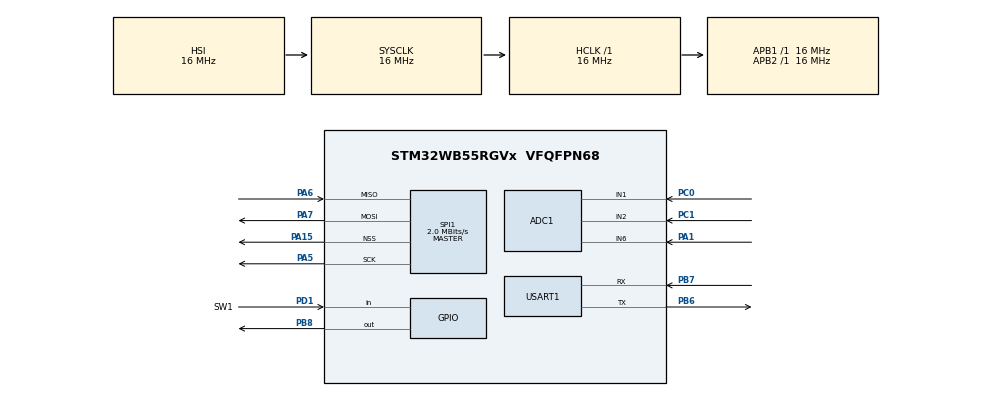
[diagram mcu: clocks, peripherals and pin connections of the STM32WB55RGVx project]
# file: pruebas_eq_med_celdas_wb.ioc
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ADC1.Channel-0\#ChannelRegularConversion=ADC_CHANNEL_1
ADC1.Channel-1\#ChannelRegularConversion=ADC_CHANNEL_2
ADC1.Channel-2\#ChannelRegularConversion=ADC_CHANNEL_6
ADC1.ExternalTrigConv=ADC_EXTERNALTRIG_T2_TRGO
ADC1.NbrOfConversion=3
ADC1.NbrOfConversionFlag=1
ADC1.OffsetNumber-0\#ChannelRegularConversion=ADC_OFFSET_NONE
ADC1.OffsetNumber-1\#ChannelRegularConversion=ADC_OFFSET_NONE
ADC1.OffsetNumber-2\#ChannelRegularConversion=ADC_OFFSET_NONE
ADC1.Rank-0\#ChannelRegularConversion=1
ADC1.Rank-1\#ChannelRegularConversion=2
ADC1.Rank-2\#ChannelRegularConversion=3
ADC1.SamplingTime-0\#ChannelRegularConversion=ADC_SAMPLETIME_6CYCLES_5
ADC1.SamplingTime-1\#ChannelRegularConversion=ADC_SAMPLETIME_6CYCLES_5
ADC1.SamplingTime-2\#ChannelRegularConversion=ADC_SAMPLETIME_6CYCLES_5
ADC1.master=1
Dma.ADC1.1.Direction=DMA_PERIPH_TO_MEMORY
Dma.ADC1.1.EventEnable=DISABLE
Dma.ADC1.1.Instance=DMA1_Channel2
Dma.ADC1.1.MemDataAlignment=DMA_MDATAALIGN_HALFWORD
Dma.ADC1.1.MemInc=DMA_MINC_ENABLE
Dma.ADC1.1.Mode=DMA_NORMAL
Dma.ADC1.1.PeriphDataAlignment=DMA_PDATAALIGN_HALFWORD
Dma.ADC1.1.PeriphInc=DMA_PINC_DISABLE
Dma.ADC1.1.Polarity=HAL_DMAMUX_REQ_GEN_RISING
Dma.ADC1.1.Priority=DMA_PRIORITY_LOW
Dma.ADC1.1.RequestNumber=1
Dma.ADC1.1.SignalID=NONE
Dma.ADC1.1.SyncEnable=DISABLE
Dma.ADC1.1.SyncPolarity=HAL_DMAMUX_SYNC_NO_EVENT
Dma.ADC1.1.SyncRequestNumber=1
Dma.ADC1.1.SyncSignalID=NONE
Dma.Request0=SPI1_TX
Dma.Request1=ADC1
Dma.SPI1_TX.0.Direction=DMA_MEMORY_TO_PERIPH
Dma.SPI1_TX.0.EventEnable=DISABLE
Dma.SPI1_TX.0.Instance=DMA1_Channel1
Dma.SPI1_TX.0.MemDataAlignment=DMA_MDATAALIGN_HALFWORD
Dma.SPI1_TX.0.MemInc=DMA_MINC_ENABLE
Dma.SPI1_TX.0.Mode=DMA_CIRCULAR
Dma.SPI1_TX.0.PeriphDataAlignment=DMA_PDATAALIGN_HALFWORD
Dma.SPI1_TX.0.PeriphInc=DMA_PINC_DISABLE
Dma.SPI1_TX.0.Polarity=HAL_DMAMUX_REQ_GEN_RISING
Dma.SPI1_TX.0.Priority=DMA_PRIORITY_LOW
Dma.SPI1_TX.0.RequestNumber=1
Dma.SPI1_TX.0.SignalID=NONE
Dma.SPI1_TX.0.SyncEnable=DISABLE
Dma.SPI1_TX.0.SyncPolarity=HAL_DMAMUX_SYNC_NO_EVENT
Dma.SPI1_TX.0.SyncRequestNumber=1
Dma.SPI1_TX.0.SyncSignalID=NONE
Mcu.Family=STM32WB
Mcu.Name=STM32WB55RGVx
Mcu.Package=VFQFPN68
NVIC.DMA1_Channel1_IRQn=true\:0\:0\:false\:false\:true\:false\:true\:true
NVIC.DMA1_Channel2_IRQn=true\:0\:0\:false\:false\:true\:false\:true\:true
NVIC.PriorityGroup=NVIC_PRIORITYGROUP_4
NVIC.TIM2_IRQn=true\:0\:0\:false\:false\:true\:true\:true\:true
NVIC.USART1_IRQn=true\:0\:0\:false\:false\:true\:true\:true\:true
OSC_IN.GPIO_Label=RCC_OSC_IN
OSC_IN.Signal=RCC_OSC_IN
OSC_OUT.GPIO_Label=RCC_OSC_OUT
OSC_OUT.Signal=RCC_OSC_OUT
P-NUCLEO-WB55-NUCLEO.BUTTON=2
P-NUCLEO-WB55-NUCLEO.BUTTON2=1
P-NUCLEO-WB55-NUCLEO.BUTTON3=1
P-NUCLEO-WB55-NUCLEO.LD1=true
P-NUCLEO-WB55-NUCLEO.LD2=true
P-NUCLEO-WB55-NUCLEO.LD3=true
P-NUCLEO-WB55-NUCLEO.VCP=false
PA1.Signal=ADCx_IN6
PA11.GPIO_Label=USB_DM
PA11.Signal=USB_DM
PA12.GPIO_Label=USB_DP
PA12.Signal=USB_DP
PA13.GPIO_Label=JTMS
PA13.Signal=SYS_JTMS-SWDIO
PA14.GPIO_Label=JTCK
PA14.Signal=SYS_JTCK-SWCLK
PA15.Mode=NSS_Signal_Hard_Output
PA15.Signal=SPI1_NSS
PA5.Mode=Full_Duplex_Master
PA5.Signal=SPI1_SCK
PA6.Mode=Full_Duplex_Master
PA6.Signal=SPI1_MISO
PA7.Mode=Full_Duplex_Master
PA7.Signal=SPI1_MOSI
PB3.GPIO_Label=JTDO
PB3.Signal=SYS_JTDO-SWO
PB6.Mode=Asynchronous
PB6.Signal=USART1_TX
PB7.Mode=Asynchronous
PB7.Signal=USART1_RX
PB8.GPIO_PuPd=GPIO_PULLDOWN
PB8.Signal=GPIO_Output
PC0.Signal=ADCx_IN1
PC1.Signal=ADCx_IN2
PC13.GPIO_Label=SYS_WKUP2
PC13.Signal=SYS_WKUP2
PC14-OSC32_IN.GPIO_Label=RCC_OSC32_IN
PC14-OSC32_IN.Mode=LSE-External-Oscillator
PC14-OSC32_IN.Signal=RCC_OSC32_IN
PC15-OSC32_OUT.GPIO_Label=RCC_OSC32_OUT
PC15-OSC32_OUT.Mode=LSE-External-Oscillator
PC15-OSC32_OUT.Signal=RCC_OSC32_OUT
PD1.GPIO_Label=SW1
PD1.GPIO_PuPd=GPIO_PULLUP
PD1.Signal=GPIO_Input
ProjectManager.HeapSize=0x200
ProjectManager.StackSize=0x400
ProjectManager.TargetToolchain=STM32CubeIDE
RCC.ADCFreq_Value=48000000
RCC.AHBFreq_Value=16000000
RCC.APB1Freq_Value=16000000
RCC.APB1TimFreq_Value=16000000
RCC.APB2Freq_Value=16000000
RCC.APB2TimFreq_Value=16000000
RCC.APB3Freq_Value=16000000
RCC.CortexFreq_Value=16000000
RCC.HCLKFreq_Value=16000000
RCC.HSE_VALUE=32000000
RCC.HSI48_VALUE=48000000
RCC.HSI_VALUE=16000000
RCC.PLLM=RCC_PLLM_DIV2
RCC.PLLSAI1N=12
RCC.PLLSourceVirtual=RCC_PLLSOURCE_HSI
RCC.SMPSCLockSelection=RCC_SMPSCLKSOURCE_HSI
RCC.SMPSCLockSelectionVirtual=RCC_SMPSCLKSOURCE_HSI
RCC.SMPSCLockSelectionVirtualVirtual=RCC_SMPSCLKSOURCE_HSI
RCC.SMPSDivider=1
RCC.SYSCLKFreq_VALUE=16000000
RCC.SYSCLKSource=RCC_SYSCLKSOURCE_HSI
RCC.USART1CLockSelection=RCC_USART1CLKSOURCE_SYSCLK
RCC.USBFreq_Value=48000000
RCC.VCOOutputFreq_Value=64000000
SH.ADCx_IN1.0=ADC1_IN1,IN1-Single-Ended
SH.ADCx_IN2.0=ADC1_IN2,IN2-Single-Ended
SH.ADCx_IN6.0=ADC1_IN6,IN6-Single-Ended
SPI1.BaudRatePrescaler=SPI_BAUDRATEPRESCALER_8
SPI1.CalculateBaudRate=2.0 MBits/s
SPI1.DataSize=SPI_DATASIZE_16BIT
SPI1.Direction=SPI_DIRECTION_2LINES
SPI1.Mode=SPI_MODE_MASTER
SPI1.VirtualNSS=VM_NSSHARD
SPI1.VirtualType=VM_MASTER
TIM2.Period=7
TIM2.Prescaler=4-1
TIM2.TIM_MasterOutputTrigger=TIM_TRGO_UPDATE
USART1.DMADisableonRxErrorParam=ADVFEATURE_DMA_DISABLEONRXERROR
USART1.OverrunDisableParam=ADVFEATURE_OVERRUN_DISABLE
USART1.VirtualMode-Asynchronous=VM_ASYNC
VP_MEMORYMAP_VS_MEMORYMAP.Mode=CurAppReg
VP_TIM2_VS_ClockSourceINT.Mode=Internal
board=P-NUCLEO-WB55-NUCLEO

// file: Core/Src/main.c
/* USER CODE BEGIN Header */
/**
  ******************************************************************************
  * @file           : main.c
  * @brief          : Main program body
  ******************************************************************************
  * @attention
  *
  * Copyright (c) 2026 STMicroelectronics.
  * All rights reserved.
  *
  * This software is licensed under terms that can be found in the LICENSE file
  * in the root directory of this software component.
  * If no LICENSE file comes with this software, it is provided AS-IS.
  *
  ******************************************************************************
  */
/* USER CODE END Header */
#include "main.h"

/* USER CODE BEGIN Includes */
#include "math.h"
#include <string.h>
/* USER CODE END Includes */

/* USER CODE BEGIN PTD */
typedef enum {
    MCP4822_CH_A = 0,
    MCP4822_CH_B = 1
} MCP4822_Channel;
/* USER CODE END PTD */

/* USER CODE BEGIN PD */
#define SAMPLE_RATE     500000
#define CHANNELS        3
#define RECORD_TIME_MS  20

#define ADC_SAMPLES     ((SAMPLE_RATE * RECORD_TIME_MS / 1000) * CHANNELS)

#define MCP482X_VREF 2.048f

uint16_t adcBuffer[ADC_SAMPLES];

volatile uint8_t adcFinished = 0;

uint8_t rx;
char command[16];
uint8_t commandIndex = 0;
/* USER CODE END PD */

ADC_HandleTypeDef hadc1;
DMA_HandleTypeDef hdma_adc1;

SPI_HandleTypeDef hspi1;
DMA_HandleTypeDef hdma_spi1_tx;

TIM_HandleTypeDef htim2;

UART_HandleTypeDef huart1;

void SystemClock_Config(void);
void PeriphCommonClock_Config(void);
static void MX_GPIO_Init(void);
static void MX_DMA_Init(void);
static void MX_ADC1_Init(void);
static void MX_SPI1_Init(void);
static void MX_TIM2_Init(void);
static void MX_USART1_UART_Init(void);

/* USER CODE BEGIN 0 */
void MCP4822_FillSineDMA(uint16_t *buffer,
                                uint32_t size,
                                float amplitude_volts,
                                float offset_volts,
                                uint8_t ga,
                                uint8_t channel)
{
    if (!buffer || size == 0) return;

    float fullscale = ga ? MCP482X_VREF : (2.0f * MCP482X_VREF);

    // Limitar amplitud para no saturar
    float max_amp = offset_volts;
    if ((fullscale - offset_volts) < max_amp)
        max_amp = fullscale - offset_volts;

    if (amplitude_volts > max_amp)
        amplitude_volts = max_amp;

    uint16_t config = 0;
    config |= (channel ? (1 << 15) : 0); // A/B
    config |= (1 << 14);                 // BUF
    config |= (ga ? (1 << 13) : 0);      // GA
    config |= (1 << 12);                 // SHDN

    for (uint32_t i = 0; i < size; i++)
    {
        float phase = 2.0f * M_PI * ((float)i / (float)size);
        float s = sinf(phase);

        float voltage = offset_volts + s * amplitude_volts;

        if (voltage < 0.0f) voltage = 0.0f;
        if (voltage > fullscale) voltage = fullscale;

        uint16_t code = (uint16_t)((voltage / fullscale) * 4095.0f);

        buffer[i] = config | (code & 0x0FFF);
    }
    HAL_SPI_Transmit_DMA(&hspi1, (uint8_t*)buffer, size);
}

void MCP4821_FillSineDMA(uint16_t *buffer,
                         uint32_t size,
                         float amplitude_volts,
                         float offset_volts,
                         uint8_t ga)
{
    if (!buffer || size == 0) return;

    float fullscale = ga ? MCP482X_VREF : (2.0f * MCP482X_VREF);

    // Limitar amplitud para no saturar
    float max_amp = offset_volts;

    if ((fullscale - offset_volts) < max_amp)
        max_amp = fullscale - offset_volts;

    if (amplitude_volts > max_amp)
        amplitude_volts = max_amp;

    uint16_t config = 0;

    config |= (1 << 14);             // BUF
    config |= (ga ? (1 << 13) : 0);  // GA
    config |= (1 << 12);             // SHDN

    for (uint32_t i = 0; i < size; i++)
    {
        float phase = 2.0f * M_PI * ((float)i / (float)size);
        float s = sinf(phase);

        float voltage = offset_volts + s * amplitude_volts;

        if (voltage < 0.0f)
            voltage = 0.0f;

        if (voltage > fullscale)
            voltage = fullscale;

        uint16_t code = (uint16_t)((voltage / fullscale) * 4095.0f);

        buffer[i] = config | (code & 0x0FFF);
    }

    HAL_SPI_Transmit_DMA(&hspi1, (uint8_t *)buffer, size);
}

// --- Set voltage function ---
void MCP4822_SetVoltage(MCP4822_Channel ch, float voltage)
{
    if (voltage < 0.0f)
        voltage = 0.0f;

    if (voltage > 4.096f)
        voltage = 4.096f;

    uint16_t code = (uint16_t)((voltage / 4.096f) * 4095.0f);

    uint16_t command = 0;

    command |= ((uint16_t)ch << 15);  // Channel select
    command |= (0U << 14);            // Unbuffered
    command |= (0U << 13);            // Gain = 2x
    command |= (1U << 12);            // Active
    command |= (code & 0x0FFF);       // 12-bit DAC code

    HAL_SPI_Transmit(&hspi1,
                     (uint8_t *)&command,
                     1,
                     HAL_MAX_DELAY);
}
/* USER CODE END 0 */

int main(void)
{

  /* MCU Configuration--------------------------------------------------------*/

  /* Reset of all peripherals, Initializes the Flash interface and the Systick. */
  HAL_Init();

  /* Configure the system clock */
  SystemClock_Config();

  /* Configure the peripherals common clocks */
  PeriphCommonClock_Config();

  /* Initialize all configured peripherals */
  MX_GPIO_Init();
  MX_DMA_Init();
  MX_ADC1_Init();
  MX_SPI1_Init();
  MX_TIM2_Init();
  MX_USART1_UART_Init();

  /* Infinite loop */
  /* USER CODE BEGIN WHILE */
  uint16_t dac_buffer[110];

  MCP4822_SetVoltage(MCP4822_CH_B , 1.88); // 2.5 => 2.75 - 1.9 => 2.108 // VREF = 1.07 * VB + 0.075 // VB = 0.935 * VREF - 0.07 // VBAT = 2.01 * VREF
  HAL_Delay(100);
  MCP4822_FillSineDMA(dac_buffer, sizeof(dac_buffer)/sizeof(uint16_t), 0.05f,1.0f, 1, MCP4822_CH_A);
  /* USER CODE END 2 */

  /* Infinite loop */
  /* USER CODE BEGIN WHILE */
  memset((uint8_t *) adcBuffer, 0, sizeof(adcBuffer));
  HAL_UART_Receive_IT(&huart1, &rx, 1);
  while(HAL_GPIO_ReadPin(GPIOD, GPIO_PIN_1));
  HAL_GPIO_WritePin(GPIOB, GPIO_PIN_8, GPIO_PIN_SET);
  while (1)
  {
    /* USER CODE END WHILE */

  }
}

void SystemClock_Config(void)
{
  RCC_OscInitTypeDef RCC_OscInitStruct = {0};
  RCC_ClkInitTypeDef RCC_ClkInitStruct = {0};

  /** Macro to configure the PLL multiplication factor
  */
  __HAL_RCC_PLL_PLLM_CONFIG(RCC_PLLM_DIV2);

  /** Macro to configure the PLL clock source
  */
  __HAL_RCC_PLL_PLLSOURCE_CONFIG(RCC_PLLSOURCE_HSI);

  /** Configure the main internal regulator output voltage
  */
  __HAL_PWR_VOLTAGESCALING_CONFIG(PWR_REGULATOR_VOLTAGE_SCALE1);

  /** Initializes the RCC Oscillators according to the specified parameters
  * in the RCC_OscInitTypeDef structure.
  */
  RCC_OscInitStruct.OscillatorType = RCC_OSCILLATORTYPE_HSI;
  RCC_OscInitStruct.HSIState = RCC_HSI_ON;
  RCC_OscInitStruct.HSICalibrationValue = RCC_HSICALIBRATION_DEFAULT;
  RCC_OscInitStruct.PLL.PLLState = RCC_PLL_NONE;
  if (HAL_RCC_OscConfig(&RCC_OscInitStruct) != HAL_OK)
  {
    Error_Handler();
  }

  /** Configure the SYSCLKSource, HCLK, PCLK1 and PCLK2 clocks dividers
  */
  RCC_ClkInitStruct.ClockType = RCC_CLOCKTYPE_HCLK4|RCC_CLOCKTYPE_HCLK2
                              |RCC_CLOCKTYPE_HCLK|RCC_CLOCKTYPE_SYSCLK
                              |RCC_CLOCKTYPE_PCLK1|RCC_CLOCKTYPE_PCLK2;
  RCC_ClkInitStruct.SYSCLKSource = RCC_SYSCLKSOURCE_HSI;
  RCC_ClkInitStruct.AHBCLKDivider = RCC_SYSCLK_DIV1;
  RCC_ClkInitStruct.APB1CLKDivider = RCC_HCLK_DIV1;
  RCC_ClkInitStruct.APB2CLKDivider = RCC_HCLK_DIV1;
  RCC_ClkInitStruct.AHBCLK2Divider = RCC_SYSCLK_DIV1;
  RCC_ClkInitStruct.AHBCLK4Divider = RCC_SYSCLK_DIV1;

  if (HAL_RCC_ClockConfig(&RCC_ClkInitStruct, FLASH_LATENCY_0) != HAL_OK)
  {
    Error_Handler();
  }
}

void PeriphCommonClock_Config(void)
{
  RCC_PeriphCLKInitTypeDef PeriphClkInitStruct = {0};

  /** Initializes the peripherals clock
  */
  PeriphClkInitStruct.PeriphClockSelection = RCC_PERIPHCLK_SMPS;
  PeriphClkInitStruct.SmpsClockSelection = RCC_SMPSCLKSOURCE_HSI;
  PeriphClkInitStruct.SmpsDivSelection = RCC_SMPSCLKDIV_RANGE0;

  if (HAL_RCCEx_PeriphCLKConfig(&PeriphClkInitStruct) != HAL_OK)
  {
    Error_Handler();
  }
}

static void MX_ADC1_Init(void)
{

  ADC_ChannelConfTypeDef sConfig = {0};

  /** Common config
  */
  hadc1.Instance = ADC1;
  hadc1.Init.ClockPrescaler = ADC_CLOCK_ASYNC_DIV1;
  hadc1.Init.Resolution = ADC_RESOLUTION_12B;
  hadc1.Init.DataAlign = ADC_DATAALIGN_RIGHT;
  hadc1.Init.ScanConvMode = ADC_SCAN_ENABLE;
  hadc1.Init.EOCSelection = ADC_EOC_SINGLE_CONV;
  hadc1.Init.LowPowerAutoWait = DISABLE;
  hadc1.Init.ContinuousConvMode = DISABLE;
  hadc1.Init.NbrOfConversion = 3;
  hadc1.Init.DiscontinuousConvMode = DISABLE;
  hadc1.Init.ExternalTrigConv = ADC_EXTERNALTRIG_T2_TRGO;
  hadc1.Init.ExternalTrigConvEdge = ADC_EXTERNALTRIGCONVEDGE_RISING;
  hadc1.Init.DMAContinuousRequests = DISABLE;
  hadc1.Init.Overrun = ADC_OVR_DATA_PRESERVED;
  hadc1.Init.OversamplingMode = DISABLE;
  if (HAL_ADC_Init(&hadc1) != HAL_OK)
  {
    Error_Handler();
  }

  /** Configure Regular Channel
  */
  sConfig.Channel = ADC_CHANNEL_1;
  sConfig.Rank = ADC_REGULAR_RANK_1;
  sConfig.SamplingTime = ADC_SAMPLETIME_6CYCLES_5;
  sConfig.SingleDiff = ADC_SINGLE_ENDED;
  sConfig.OffsetNumber = ADC_OFFSET_NONE;
  sConfig.Offset = 0;
  if (HAL_ADC_ConfigChannel(&hadc1, &sConfig) != HAL_OK)
  {
    Error_Handler();
  }

  /** Configure Regular Channel
  */
  sConfig.Channel = ADC_CHANNEL_2;
  sConfig.Rank = ADC_REGULAR_RANK_2;
  if (HAL_ADC_ConfigChannel(&hadc1, &sConfig) != HAL_OK)
  {
    Error_Handler();
  }

  /** Configure Regular Channel
  */
  sConfig.Channel = ADC_CHANNEL_6;
  sConfig.Rank = ADC_REGULAR_RANK_3;
  if (HAL_ADC_ConfigChannel(&hadc1, &sConfig) != HAL_OK)
  {
    Error_Handler();
  }

}

static void MX_SPI1_Init(void)
{

  /* SPI1 parameter configuration*/
  hspi1.Instance = SPI1;
  hspi1.Init.Mode = SPI_MODE_MASTER;
  hspi1.Init.Direction = SPI_DIRECTION_2LINES;
  hspi1.Init.DataSize = SPI_DATASIZE_16BIT;
  hspi1.Init.CLKPolarity = SPI_POLARITY_LOW;
  hspi1.Init.CLKPhase = SPI_PHASE_1EDGE;
  hspi1.Init.NSS = SPI_NSS_HARD_OUTPUT;
  hspi1.Init.BaudRatePrescaler = SPI_BAUDRATEPRESCALER_8;
  hspi1.Init.FirstBit = SPI_FIRSTBIT_MSB;
  hspi1.Init.TIMode = SPI_TIMODE_DISABLE;
  hspi1.Init.CRCCalculation = SPI_CRCCALCULATION_DISABLE;
  hspi1.Init.CRCPolynomial = 7;
  hspi1.Init.CRCLength = SPI_CRC_LENGTH_DATASIZE;
  hspi1.Init.NSSPMode = SPI_NSS_PULSE_ENABLE;
  if (HAL_SPI_Init(&hspi1) != HAL_OK)
  {
    Error_Handler();
  }

}

static void MX_TIM2_Init(void)
{

  TIM_ClockConfigTypeDef sClockSourceConfig = {0};
  TIM_MasterConfigTypeDef sMasterConfig = {0};

  htim2.Instance = TIM2;
  htim2.Init.Prescaler = 4-1;
  htim2.Init.CounterMode = TIM_COUNTERMODE_UP;
  htim2.Init.Period = 7;
  htim2.Init.ClockDivision = TIM_CLOCKDIVISION_DIV1;
  htim2.Init.AutoReloadPreload = TIM_AUTORELOAD_PRELOAD_DISABLE;
  if (HAL_TIM_Base_Init(&htim2) != HAL_OK)
  {
    Error_Handler();
  }
  sClockSourceConfig.ClockSource = TIM_CLOCKSOURCE_INTERNAL;
  if (HAL_TIM_ConfigClockSource(&htim2, &sClockSourceConfig) != HAL_OK)
  {
    Error_Handler();
  }
  sMasterConfig.MasterOutputTrigger = TIM_TRGO_UPDATE;
  sMasterConfig.MasterSlaveMode = TIM_MASTERSLAVEMODE_DISABLE;
  if (HAL_TIMEx_MasterConfigSynchronization(&htim2, &sMasterConfig) != HAL_OK)
  {
    Error_Handler();
  }

}

static void MX_USART1_UART_Init(void)
{

  huart1.Instance = USART1;
  huart1.Init.BaudRate = 115200;
  huart1.Init.WordLength = UART_WORDLENGTH_8B;
  huart1.Init.StopBits = UART_STOPBITS_1;
  huart1.Init.Parity = UART_PARITY_NONE;
  huart1.Init.Mode = UART_MODE_TX_RX;
  huart1.Init.HwFlowCtl = UART_HWCONTROL_NONE;
  huart1.Init.OverSampling = UART_OVERSAMPLING_16;
  huart1.Init.OneBitSampling = UART_ONE_BIT_SAMPLE_DISABLE;
  huart1.Init.ClockPrescaler = UART_PRESCALER_DIV1;
  huart1.AdvancedInit.AdvFeatureInit = UART_ADVFEATURE_RXOVERRUNDISABLE_INIT|UART_ADVFEATURE_DMADISABLEONERROR_INIT;
  huart1.AdvancedInit.OverrunDisable = UART_ADVFEATURE_OVERRUN_DISABLE;
  huart1.AdvancedInit.DMADisableonRxError = UART_ADVFEATURE_DMA_DISABLEONRXERROR;
  if (HAL_UART_Init(&huart1) != HAL_OK)
  {
    Error_Handler();
  }
  if (HAL_UARTEx_SetTxFifoThreshold(&huart1, UART_TXFIFO_THRESHOLD_1_8) != HAL_OK)
  {
    Error_Handler();
  }
  if (HAL_UARTEx_SetRxFifoThreshold(&huart1, UART_RXFIFO_THRESHOLD_1_8) != HAL_OK)
  {
    Error_Handler();
  }
  if (HAL_UARTEx_DisableFifoMode(&huart1) != HAL_OK)
  {
    Error_Handler();
  }

}

static void MX_DMA_Init(void)
{

  /* DMA controller clock enable */
  __HAL_RCC_DMAMUX1_CLK_ENABLE();
  __HAL_RCC_DMA1_CLK_ENABLE();

  /* DMA interrupt init */
  /* DMA1_Channel1_IRQn interrupt configuration */
  HAL_NVIC_SetPriority(DMA1_Channel1_IRQn, 0, 0);
  HAL_NVIC_EnableIRQ(DMA1_Channel1_IRQn);
  /* DMA1_Channel2_IRQn interrupt configuration */
  HAL_NVIC_SetPriority(DMA1_Channel2_IRQn, 0, 0);
  HAL_NVIC_EnableIRQ(DMA1_Channel2_IRQn);

}

static void MX_GPIO_Init(void)
{
  GPIO_InitTypeDef GPIO_InitStruct = {0};

  /* GPIO Ports Clock Enable */
  __HAL_RCC_GPIOC_CLK_ENABLE();
  __HAL_RCC_GPIOB_CLK_ENABLE();
  __HAL_RCC_GPIOA_CLK_ENABLE();
  __HAL_RCC_GPIOD_CLK_ENABLE();

  /*Configure GPIO pin Output Level */
  HAL_GPIO_WritePin(GPIOB, GPIO_PIN_8, GPIO_PIN_RESET);

  /*Configure GPIO pin : PB8 */
  GPIO_InitStruct.Pin = GPIO_PIN_8;
  GPIO_InitStruct.Mode = GPIO_MODE_OUTPUT_PP;
  GPIO_InitStruct.Pull = GPIO_PULLDOWN;
  GPIO_InitStruct.Speed = GPIO_SPEED_FREQ_LOW;
  HAL_GPIO_Init(GPIOB, &GPIO_InitStruct);

  /*Configure GPIO pins : USB_DM_Pin USB_DP_Pin */
  GPIO_InitStruct.Pin = USB_DM_Pin|USB_DP_Pin;
  GPIO_InitStruct.Mode = GPIO_MODE_AF_PP;
  GPIO_InitStruct.Pull = GPIO_NOPULL;
  GPIO_InitStruct.Speed = GPIO_SPEED_FREQ_LOW;
  GPIO_InitStruct.Alternate = GPIO_AF10_USB;
  HAL_GPIO_Init(GPIOA, &GPIO_InitStruct);

  /*Configure GPIO pin : SW1_Pin */
  GPIO_InitStruct.Pin = SW1_Pin;
  GPIO_InitStruct.Mode = GPIO_MODE_INPUT;
  GPIO_InitStruct.Pull = GPIO_PULLUP;
  HAL_GPIO_Init(SW1_GPIO_Port, &GPIO_InitStruct);

}

/* USER CODE BEGIN 4 */
void StartAcquisition(void)
{
    adcFinished = 0;

    memset((uint8_t *) adcBuffer, 0, sizeof(adcBuffer));
    HAL_ADC_Start_DMA(&hadc1,
                      (uint32_t *)adcBuffer,
                      ADC_SAMPLES);

    HAL_TIM_Base_Start(&htim2);
}

void HAL_ADC_ConvCpltCallback(ADC_HandleTypeDef *hadc)
{
    if (hadc == &hadc1)
    {
        HAL_TIM_Base_Stop(&htim2);
        HAL_ADC_Stop_DMA(&hadc1);

        adcFinished = 1;

        const uint8_t msg[] = "DONE\n";
        HAL_UART_Transmit(&huart1,
                          (uint8_t *)msg,
                          sizeof(msg) - 1,
                          HAL_MAX_DELAY);
    }
}

void HAL_UART_RxCpltCallback(UART_HandleTypeDef *huart)
{
    if (huart == &huart1)
    {
        if (rx == '\n')
        {
            command[commandIndex] = '\0';

            if (strcmp(command, "s") == 0)
            {
                StartAcquisition();
            }
            else if (strcmp(command, "r") == 0)
            {
                if (adcFinished)
                {
                    HAL_UART_Transmit(&huart1,
                                      (uint8_t *)adcBuffer,
                                      sizeof(adcBuffer),
                                      HAL_MAX_DELAY);
                }
            }

            commandIndex = 0;
        }
        else if (rx != '\r')
        {
            if (commandIndex < sizeof(command) - 1)
            {
                command[commandIndex++] = rx;
            }
        }

        HAL_UART_Receive_IT(&huart1, &rx, 1);
    }
}
/* USER CODE END 4 */

void Error_Handler(void)
{
  __disable_irq();
  while (1)
  {
  }
}
